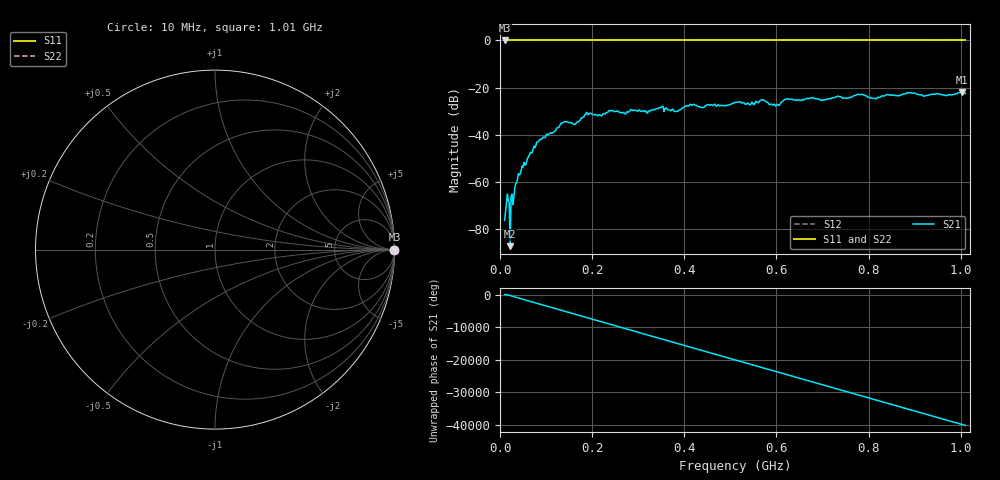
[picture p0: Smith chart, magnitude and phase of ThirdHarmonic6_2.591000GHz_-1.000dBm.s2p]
! 8/17/2025 5:33:05 AM
! C:\ANRITSUVNA\TEMP\TEMP.S2P
! CHANNEL.1
! TR.MEASUREMENT
! RAW.DATA
! RF.CORRECTION.OFF
! AVERAGING.OFF
! IF.BANDWIDTH: 5KHZ
! SWEEPTYPE:  FREQ.SWEEP(Linear)
! Reference Plane Port Info
! PORT:  PORT1  PORT2
! DISTANCE:  0  m  0  m
! TIME:  0  s  0  s
! PHASE.OFFSET:  0  deg.  0  deg.
! LOSS:  0  dB  0  dB
! REF.LOSS:  0  dB  0  dB
! REF.FREQ:  0  Hz  0  Hz
! Power Info
! POWER:  -20  dBm  -20  dBm
! EFF.POWER:  -20  dBm  -20  dBm
! SOURCE.ATTEN:  0  dB  0  dB
! TEST.ATTEN:  0  dB  0  dB
# GHZ S RI R 50.0
! FREQ.GHZ  S11RE  S11IM  S21RE  S21IM  S12RE  S12IM  S22RE  S22IM
!; PortSelection: Port_12
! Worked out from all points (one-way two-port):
!   501 points, 10 MHz to 1.01 GHz, reference 50 ohm
!   highest |S21| = -22.00 dB at 1.002 GHz (marker M1); lowest = -87.2 dB at 22 MHz (marker M2)
!   lowest |S11| = 0.0 dB at 10 MHz (marker M3)
!   |S11| at or under -10 dB: nowhere
!   |S22| runs from 0.0 to 0.0 dB; largest |S21 - S12| = 1.1
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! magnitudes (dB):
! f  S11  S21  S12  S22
! 10 MHz  0.0  -76.3  0.0  0.0
! 16 MHz  0.0  -65.2  0.0  0.0
! 22 MHz  0.0  -87.2  0.0  0.0
! 26 MHz  0.0  -65.2  0.0  0.0
! 36 MHz  0.0  -60.3  0.0  0.0
! 44 MHz  0.0  -56.6  0.0  0.0
! 84 MHz  0.0  -42.7  0.0  0.0
! 136 MHz  0.0  -34.9  0.0  0.0
! 162 MHz  0.0  -35.6  0.0  0.0
! 178 MHz  0.0  -32.7  0.0  0.0
! 240 MHz  0.0  -29.9  0.0  0.0
! 344 MHz  0.0  -28.8  0.0  0.0
! 382 MHz  0.0  -30.0  0.0  0.0
! 416 MHz  0.0  -27.6  0.0  0.0
! 510 MHz  0.0  -26.3  0.0  0.0
! 570 MHz  0.0  -25.1  0.0  0.0
! 602 MHz  0.0  -27.1  0.0  0.0
! 622 MHz  0.0  -24.8  0.0  0.0
! 678 MHz  0.0  -24.4  0.0  0.0
! 844 MHz  0.0  -23.0  0.0  0.0
! 1.002 GHz  0.0  -22.0  0.0  0.0
! 1.01 GHz  0.0  -22.6  0.0  0.0
